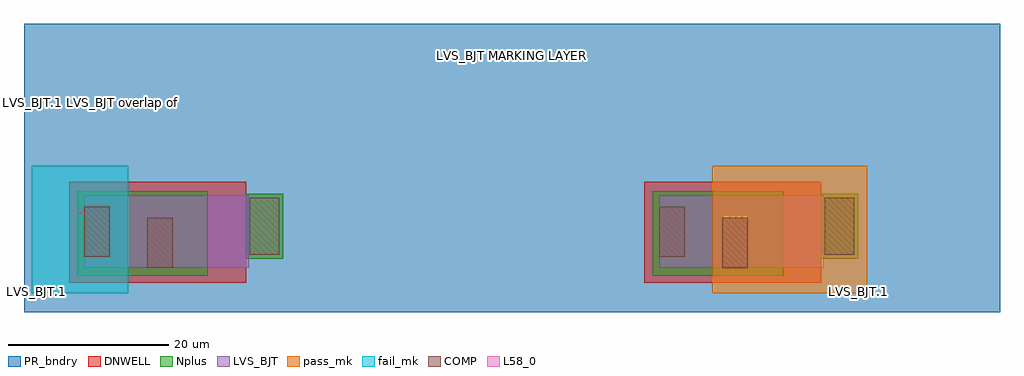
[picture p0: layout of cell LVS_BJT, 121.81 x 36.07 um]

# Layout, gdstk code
import gdstk
lib = gdstk.Library(unit=1e-6, precision=1e-09)
def R(c, l, rs):  # rectangles x0, y0, x1, y1
    for r in rs: c.add(gdstk.rectangle(r[:2], r[2:], *l))
def P(c, l, *ps):  # polygons
    for p in ps: c.add(gdstk.Polygon(p, *l))
PR_bndry = (0, 0)
pass_mk = (2, 222)
fail_mk = (3, 222)
DNWELL = (12, 0)
COMP = (22, 0)
Nplus = (32, 0)
L58_0 = (58, 0)
LVS_BJT = (118, 5)

lvs_bjt = lib.new_cell('LVS_BJT')
R(lvs_bjt, PR_bndry, [(-123.315,39.57,-16.495,60.08), (-16.495,39.57,-1.5,60.08), (-123.315,60.08,-1.5,67.86), (-123.315,67.86,-1.5,75.64)])
R(lvs_bjt, pass_mk, [(-37.422,41.96,-18.088,57.855)])
R(lvs_bjt, fail_mk, [(-122.334,41.96,-110.293,57.855)])
R(lvs_bjt, DNWELL, [(-117.675,43.31,-95.555,55.9), (-45.905,43.31,-23.785,55.9)])
R(lvs_bjt, COMP, [(-107.96,45.17,-104.75,51.425), (-36.19,45.17,-32.98,51.425), (-115.815,46.52,-112.605,52.775), (-44.045,46.52,-40.835,52.775), (-115.82,51.485,-115.815,52.775), (-44.05,51.485,-44.045,52.775)])
P(lvs_bjt, COMP, [(-95.15,46.75),(-95.15,53.115),(-95.155,53.115),(-95.155,53.87),(-91.455,53.87),(-91.455,46.75)],
  [(-23.38,46.75),(-23.38,53.115),(-23.385,53.115),(-23.385,53.87),(-19.685,53.87),(-19.685,46.75)])
R(lvs_bjt, Nplus, [(-116.585,44.175,-100.35,54.71), (-44.815,44.175,-28.58,54.71)])
P(lvs_bjt, Nplus, [(-95.65,46.25),(-95.65,52.615),(-95.655,52.615),(-95.655,54.37),(-90.955,54.37),(-90.955,46.25)],
  [(-23.88,46.25),(-23.88,52.615),(-23.885,52.615),(-23.885,54.37),(-19.185,54.37),(-19.185,46.25)])
P(lvs_bjt, L58_0, [(-116.06,51.865),(-116.06,51.985),(-116.54,51.985),(-116.54,52.225),(-116.06,52.225),(-116.06,52.345),(-115.82,52.105)])
R(lvs_bjt, LVS_BJT, [(-115.815,45.17,-95.25,54.21), (-44.045,45.17,-23.48,54.21)])
lvs_bjt.add(gdstk.Label('LVS_BJT.1', (-19.203,42.216), layer=11, texttype=222))
lvs_bjt.add(gdstk.Label('LVS_BJT.1', (-121.813,42.216), layer=11, texttype=222))
lvs_bjt.add(gdstk.Label('LVS_BJT.1 LVS_BJT overlap of all NPN COMP layers = 0', (-122.23,65.841), layer=58, texttype=0))
lvs_bjt.add(gdstk.Label('LVS_BJT MARKING LAYER', (-62.52,71.685), layer=58, texttype=0))

lib.write_gds('LVS_BJT.gds')
